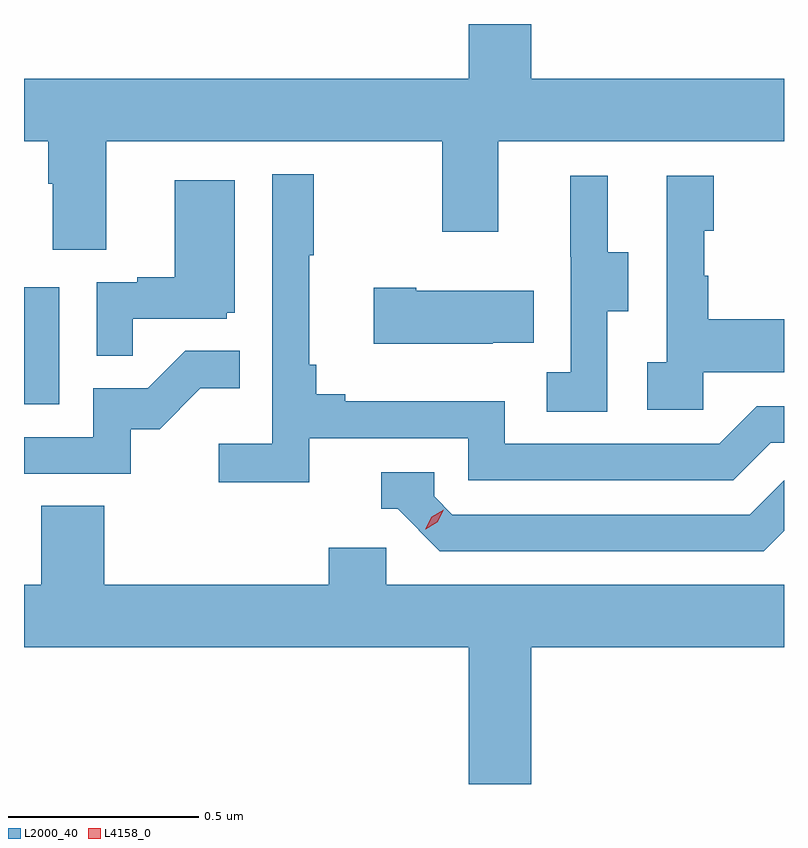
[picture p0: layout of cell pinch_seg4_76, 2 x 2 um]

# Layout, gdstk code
import gdstk
lib = gdstk.Library(unit=1e-6, precision=1e-09)
def R(c, l, rs):  # rectangles x0, y0, x1, y1
    for r in rs: c.add(gdstk.rectangle(r[:2], r[2:], *l))
def P(c, l, *ps):  # polygons
    for p in ps: c.add(gdstk.Polygon(p, *l))
L2000_40 = (2000, 40)
L4158_0 = (4158, 0)

pinch_seg4_76 = lib.new_cell('pinch_seg4_76')
R(pinch_seg4_76, L2000_40, [(1038.961,821.436,1039.054,821.743)])
P(pinch_seg4_76, L2000_40, [(1039.177,822.128),(1040.062,822.128),(1040.062,821.889),(1040.209,821.889),(1040.209,822.128),(1040.961,822.128),(1040.961,822.292),(1040.296,822.292),(1040.296,822.436),(1040.132,822.436),(1040.132,822.292),(1038.961,822.292),(1038.961,822.128),(1039.025,822.128),(1039.025,822.016),(1039.037,822.016),(1039.037,821.842),(1039.177,821.842)],
  [(1039.712,821.346),(1040.13,821.346),(1040.13,821.235),(1040.827,821.235),(1040.926,821.334),(1040.961,821.334),(1040.961,821.43),(1040.889,821.43),(1040.79,821.331),(1040.226,821.331),(1040.226,821.443),(1039.807,821.443),(1039.807,821.462),(1039.73,821.462),(1039.73,821.539),(1039.711,821.539),(1039.711,821.827),(1039.723,821.827),(1039.723,822.04),(1039.614,822.04),(1039.614,821.332),(1039.473,821.332),(1039.473,821.23),(1039.712,821.23)],
  [(1040.496,821.68),(1040.551,821.68),(1040.551,821.835),(1040.497,821.835),(1040.497,822.037),(1040.399,822.037),(1040.399,821.823),(1040.4,821.823),(1040.4,821.519),(1040.337,821.519),(1040.337,821.416),(1040.496,821.416)],
  [(1040.748,821.519),(1040.961,821.519),(1040.961,821.659),(1040.761,821.659),(1040.761,821.774),(1040.751,821.774),(1040.751,821.892),(1040.776,821.892),(1040.776,822.037),(1040.652,822.037),(1040.652,821.546),(1040.601,821.546),(1040.601,821.421),(1040.748,821.421)],
  [(1039.247,821.661),(1039.494,821.661),(1039.494,821.676),(1039.516,821.676),(1039.516,822.025),(1039.358,822.025),(1039.358,821.77),(1039.259,821.77),(1039.259,821.757),(1039.152,821.757),(1039.152,821.563),(1039.247,821.563)],
  [(1040.195,821.597),(1040.303,821.597),(1040.303,821.734),(1039.993,821.734),(1039.993,821.742),(1039.881,821.742),(1039.881,821.594),(1040.195,821.594)],
  [(1039.242,821.37),(1039.318,821.37),(1039.425,821.477),(1039.529,821.477),(1039.529,821.576),(1039.385,821.576),(1039.287,821.478),(1039.143,821.478),(1039.143,821.349),(1038.961,821.349),(1038.961,821.253),(1039.242,821.253)],
  [(1040.961,821.102),(1040.961,821.235),(1040.871,821.145),(1040.088,821.145),(1040.04,821.193),(1040.04,821.256),(1039.901,821.256),(1039.901,821.16),(1039.944,821.16),(1040.055,821.049),(1040.908,821.049)],
  [(1040.296,820.796),(1040.961,820.796),(1040.961,820.96),(1039.914,820.96),(1039.914,821.058),(1039.763,821.058),(1039.763,820.96),(1039.172,820.96),(1039.172,821.168),(1039.007,821.168),(1039.007,820.96),(1038.961,820.96),(1038.961,820.796),(1040.132,820.796),(1040.132,820.436),(1040.296,820.436)])
P(pinch_seg4_76, L4158_0, [(1040.017,821.107),(1040.017,821.107),(1040.034,821.139),(1040.065,821.158),(1040.065,821.158),(1040.065,821.158),(1040.048,821.125),(1040.018,821.107)])

lib.write_gds('pinch_seg4_76.gds')
